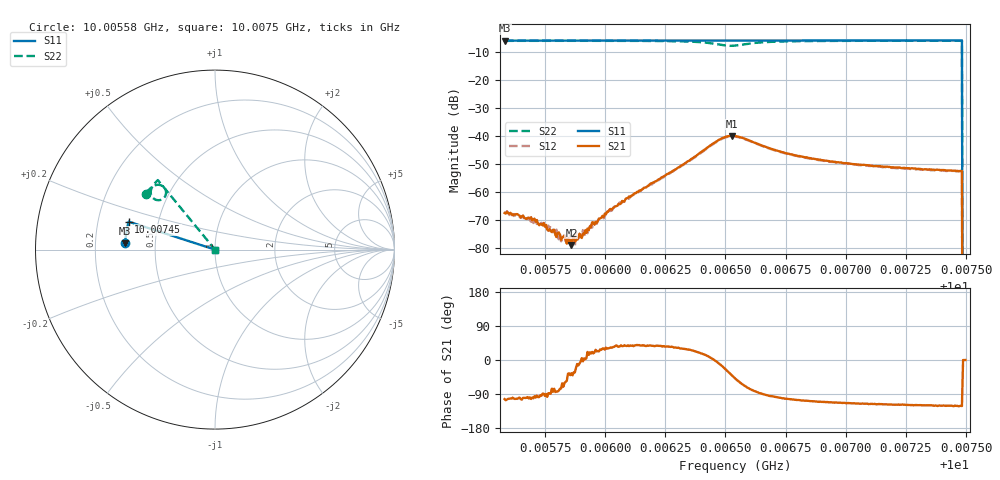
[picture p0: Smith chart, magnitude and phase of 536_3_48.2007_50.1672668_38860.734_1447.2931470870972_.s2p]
#  HZ  S  RI  R  50.00
! Rohde & Schwarz Vector Network Analyzer
! Rohde-Schwarz,ZNB20-2Port,1311601062101988,3.16
! Created: UTC 3/20/2024, 12:00:05 PM
! freq[Hz]  re:S11  im:S11  re:S21  im:S21  re:S12  im:S12  re:S22  im:S22
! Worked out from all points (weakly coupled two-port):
!   401 points, 10.00558 GHz to 10.0075 GHz, reference 50 ohm
!   highest |S21| = -40.06 dB at 10.00653 GHz (marker M1); lowest = -79.1 dB at 10.00586 GHz (marker M2)
!   lowest |S11| = -6.0 dB at 10.00558 GHz (marker M3), VSWR 3.01, Z = 16.6 + j1.52 ohm
!   |S11| at or under -10 dB: 10.00748 GHz to end of sweep
!   |S22| runs from - to -6.0 dB; largest |S21 - S12| = 0.00063
!   S11 on the Smith chart (normalised r, x): 10.00558 GHz: 0.33, +0.03; 10.00745 GHz: 0.34, +0.14; 10.0075 GHz: 1.00, +0.00
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1.0005582e10  -0.5001 0.0343  -9.46e-05 -0.000404  -8.84e-05 -0.000401  -0.3872 0.3111
1.0005697e10  -0.4998 0.0418  -4.78e-05 -0.000302  -2.15e-05 -0.000328  -0.382 0.318
1.0005774e10  -0.4995 0.0471  3.7e-06 -0.000197  2.94e-05 -0.000242  -0.3782 0.3227
1.0005817e10  -0.4993 0.0497  3.47e-05 -0.000132  5.26e-05 -0.000118  -0.3759 0.3253
1.000585e10  -0.4991 0.052  9.79e-05 -6.89e-05  0.000104 -9.4e-05  -0.3742 0.3276
1.000586e10  -0.499 0.0525  9.07e-05 -6.34e-05  0.000124 -6.49e-05  -0.3738 0.3281
1.0005884e10  -0.4989 0.0542  0.000138 -2.57e-05  0.000122 -2.73e-05  -0.3724 0.3297
1.0005903e10  -0.4988 0.0553  0.000147 1.25e-05  0.000167 4.17e-05  -0.3714 0.3308
1.0005922e10  -0.4987 0.0565  0.000182 1.44e-05  0.000196 6.85e-05  -0.3701 0.3321
1.0005979e10  -0.4985 0.0603  0.000293 0.000155  0.000293 0.000186  -0.3665 0.3359
1.0006018e10  -0.4981 0.0629  0.000405 0.00025  0.000339 0.000262  -0.364 0.3384
1.0006114e10  -0.4975 0.0691  0.000675 0.000533  0.000647 0.000566  -0.3566 0.3452
1.0006224e10  -0.4968 0.0762  0.00132 0.00101  0.00123 0.00103  -0.3449 0.3533
1.0006468e10  -0.4937 0.0917  0.00812 -0.000951  0.00798 -0.000479  -0.2749 0.3317
1.0006525e10  -0.4932 0.095  0.0076 -0.00638  0.0078 -0.00579  -0.2887 0.2841
1.000654e10  -0.4931 0.0957  0.00653 -0.00737  0.00682 -0.00689  -0.3005 0.2777
1.0006722e10  -0.4919 0.1072  -0.000842 -0.00522  -0.000584 -0.00518  -0.3581 0.323
1.0006861e10  -0.4902 0.1163  -0.00125 -0.00367  -0.00104 -0.0037  -0.3522 0.3448
1.0007181e10  -0.4857 0.1365  -0.00129 -0.00245  -0.00114 -0.00242  -0.3344 0.3709
1.0007454e10  -0.4811 0.1536  -0.0012 -0.00205  -0.00112 -0.00206  -0.3198 0.3861
1.0007474e10  -0.4807 0.1548  -0.00123 -0.00199  -0.00112 -0.00203  -0.3189 0.387
1.0007497e10  0 0  0 0  0 0  0 0
